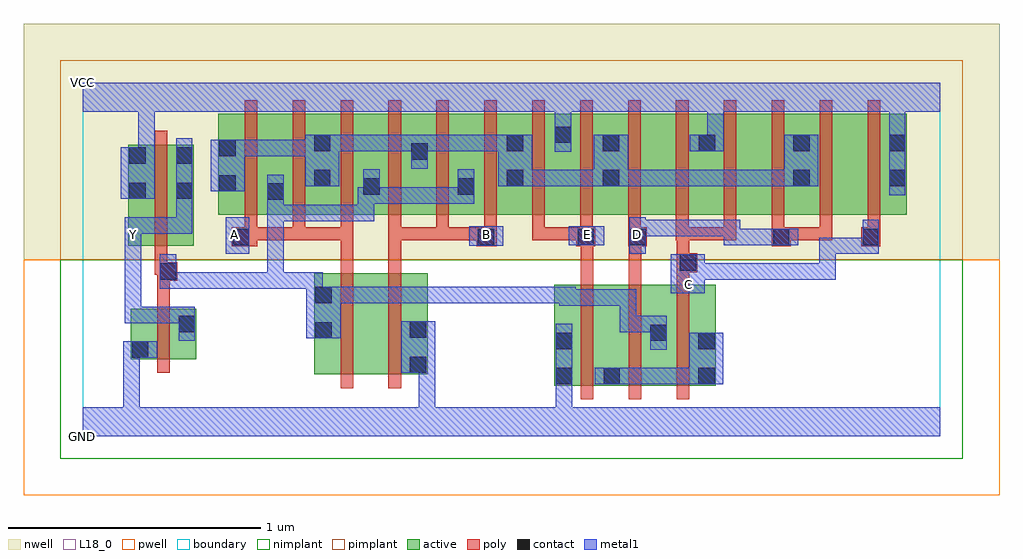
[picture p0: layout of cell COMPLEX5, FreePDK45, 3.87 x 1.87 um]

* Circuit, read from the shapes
.subckt COMPLEX5 A B C D E GND VCC Y
M1 Y n1 GND VSUBS nfet w=0.2u l=0.05u
M2 n2 A n1 VSUBS nfet w=0.4u l=0.05u
M3 GND B n2 VSUBS nfet w=0.4u l=0.05u
M4 n3 E GND VSUBS nfet w=0.4u l=0.05u
M5 n1 D n3 VSUBS nfet w=0.4u l=0.05u
M6 n3 C n1 VSUBS nfet w=0.4u l=0.05u
M7 Y n1 VCC n4 pfet w=0.4u l=0.05u
M8 n1 A n5 n4 pfet w=0.4u l=0.05u m=3
M9 n5 B n1 n4 pfet w=0.4u l=0.05u m=3
M10 VCC E n5 n4 pfet w=0.4u l=0.05u m=2
M11 n6 D n5 n4 pfet w=0.4u l=0.05u
M12 VCC C n6 n4 pfet w=0.4u l=0.05u
M13 n7 C VCC n4 pfet w=0.4u l=0.05u
M14 n5 D n7 n4 pfet w=0.4u l=0.05u
M15 n8 D n5 n4 pfet w=0.4u l=0.05u
M16 VCC C n8 n4 pfet w=0.4u l=0.05u
.ends

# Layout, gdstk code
import gdstk
lib = gdstk.Library(unit=1e-6, precision=1e-09)
def R(c, l, rs):  # rectangles x0, y0, x1, y1
    for r in rs: c.add(gdstk.rectangle(r[:2], r[2:], *l))
def A(c, l, x, y, w, h, nx, ny, dx, dy):  # array of equal rectangles
    R(c, l, [(x+i*dx, y+j*dy, x+i*dx+w, y+j*dy+h) for i in range(nx) for j in range(ny)])
active = (1, 0)
pwell = (2, 0)
nwell = (3, 0)
nimplant = (4, 0)
pimplant = (5, 0)
poly = (9, 0)
contact = (10, 0)
metal1 = (11, 0)
L18_0 = (18, 0)
boundary = (235, 0)

complex5 = lib.new_cell('COMPLEX5')
A(complex5, active, 0.537, 0.877, 0.265, 0.4, 3, 1, 0.57, 0)
A(complex5, active, 1.297, 0.907, 0.075, 0.293, 4, 1, 0.38, 0)
R(complex5, active, [(1.87,0.2,1.945,0.6), (1.87,0.2,2.135,0.6), (2.06,0.2,2.32,0.6), (2.06,0.2,2.135,0.492), (2.245,0.2,2.51,0.6), (2.435,0.2,2.51,0.6), (0.917,0.245,0.992,0.645), (0.917,0.245,1.142,0.645), (1.142,0.245,1.367,0.645), (1.292,0.245,1.367,0.645), (2.245,0.245,2.32,0.492), (0.19,0.305,0.265,0.505), (0.19,0.305,0.45,0.505), (0.375,0.305,0.45,0.505), (0.18,0.755,0.255,1.155), (0.18,0.755,0.44,1.155), (0.365,0.755,0.44,1.155), (0.537,0.877,0.612,1.2), (0.727,0.877,0.987,1.277), (0.727,0.877,0.802,1.07), (0.912,0.877,1.182,1.277), (1.297,0.877,1.557,1.277), (1.482,0.877,1.752,1.277), (1.867,0.877,2.132,1.277), (2.057,0.877,2.282,1.277), (2.282,0.877,2.512,1.277), (2.437,0.877,2.662,1.277), (2.662,0.877,2.887,1.277), (2.812,0.877,3.042,1.277), (3.042,0.877,3.267,1.277), (3.192,0.877,3.267,1.277), (0.912,0.907,0.987,1.2), (1.107,0.907,1.182,1.07), (1.482,0.907,1.557,1.07), (1.867,0.907,1.942,1.277), (2.812,0.907,2.887,1.2)])
R(complex5, pwell, [(-0.235,-0.235,3.635,0.7)])
R(complex5, nwell, [(-0.235,0.7,3.635,1.635)])
R(complex5, nimplant, [(-0.09,-0.09,3.49,0.7)])
R(complex5, pimplant, [(-0.09,0.7,3.49,1.49)])
A(complex5, poly, 1.975, 0.145, 0.05, 0.51, 3, 1, 0.19, 0)
A(complex5, poly, 0.642, 0.777, 0.05, 0.095, 14, 1, 0.19, 0)
A(complex5, poly, 0.642, 0.822, 0.05, 0.51, 14, 1, 0.19, 0)
R(complex5, poly, [(1.022,0.19,1.072,0.7), (1.212,0.19,1.262,0.7), (0.295,0.25,0.345,0.56), (0.295,0.51,0.345,0.665), (1.975,0.605,2.025,0.802), (2.165,0.605,2.215,0.802), (2.355,0.605,2.405,0.7), (0.295,0.615,0.375,0.69), (0.285,0.64,0.335,0.75), (0.285,0.64,0.345,0.69), (0.295,0.64,0.345,0.69), (1.022,0.65,1.072,0.827), (1.212,0.65,1.262,0.827), (2.355,0.65,2.437,0.725), (2.355,0.675,2.405,0.827), (0.285,0.7,0.335,1.21), (0.59,0.752,0.692,0.827), (1.562,0.752,1.642,0.827), (1.957,0.752,2.032,0.827), (1.975,0.752,2.025,0.802), (1.975,0.752,2.025,0.802), (2.162,0.752,2.237,0.827), (2.165,0.752,2.215,0.802), (2.165,0.752,2.215,0.802), (2.732,0.752,2.807,0.827), (3.087,0.752,3.162,0.827), (0.642,0.777,0.882,0.827), (0.832,0.777,0.882,0.827), (0.832,0.777,0.882,0.827), (0.832,0.777,0.882,0.827), (0.832,0.777,1.072,0.827), (1.022,0.777,1.072,0.827), (1.022,0.777,1.072,0.827), (1.022,0.777,1.072,0.827), (1.022,0.777,1.072,0.827), (1.022,0.777,1.072,0.827), (1.212,0.777,1.262,0.827), (1.212,0.777,1.262,0.827), (1.212,0.777,1.262,0.827), (1.212,0.777,1.452,0.827), (1.402,0.777,1.452,0.827), (1.402,0.777,1.452,0.827), (1.402,0.777,1.452,0.827), (1.402,0.777,1.612,0.827), (1.562,0.777,1.612,0.827), (1.562,0.777,1.612,0.827), (1.782,0.777,1.832,0.827), (1.782,0.777,1.832,0.827), (1.782,0.777,1.832,0.827), (1.782,0.777,2.007,0.827), (2.352,0.777,2.405,0.827), (2.355,0.777,2.592,0.827), (2.542,0.777,2.592,0.827), (2.542,0.777,2.592,0.827), (2.542,0.777,2.592,0.827), (2.757,0.777,2.972,0.827), (2.922,0.777,2.972,0.827), (2.922,0.777,2.972,0.827), (2.922,0.777,2.972,0.827), (3.112,0.777,3.162,0.827), (3.112,0.777,3.162,0.827)])
A(complex5, contact, 1.682, 1.13, 0.065, 0.065, 3, 1, 0.38, 0)
R(complex5, contact, [(1.875,0.205,1.94,0.27), (2.065,0.205,2.13,0.27), (2.44,0.205,2.505,0.27), (1.297,0.25,1.362,0.315), (0.195,0.31,0.26,0.375), (1.875,0.345,1.94,0.41), (2.44,0.345,2.505,0.41), (2.25,0.377,2.315,0.442), (0.922,0.387,0.987,0.452), (1.297,0.39,1.362,0.455), (0.38,0.412,0.445,0.477), (0.922,0.527,0.987,0.592), (0.305,0.62,0.37,0.685), (2.367,0.655,2.432,0.72), (0.595,0.757,0.66,0.822), (1.567,0.757,1.632,0.822), (1.962,0.757,2.027,0.822), (2.167,0.757,2.232,0.822), (2.737,0.757,2.802,0.822), (3.092,0.757,3.157,0.822), (0.732,0.937,0.797,1.002), (0.185,0.94,0.25,1.005), (0.37,0.94,0.435,1.005), (1.112,0.957,1.177,1.022), (1.487,0.957,1.552,1.022), (0.542,0.97,0.607,1.035), (0.917,0.99,0.982,1.055), (1.682,0.99,1.747,1.055), (2.062,0.99,2.127,1.055), (2.817,0.99,2.882,1.055), (3.197,0.99,3.262,1.055), (0.185,1.08,0.25,1.145), (0.37,1.08,0.435,1.145), (1.302,1.095,1.367,1.16), (0.542,1.11,0.607,1.175), (0.917,1.13,0.982,1.195), (2.817,1.13,2.882,1.195), (3.197,1.13,3.262,1.195), (1.872,1.162,1.937,1.227)])
R(complex5, metal1, [(0,0,3.4,0.115), (0.16,0.05,0.225,0.115), (0.16,0.05,0.225,0.115), (0.16,0.05,0.225,0.375), (1.332,0.05,1.397,0.315), (1.875,0.05,1.94,0.235), (1.875,0.17,1.94,0.445), (2.03,0.205,2.165,0.27), (2.1,0.205,2.165,0.27), (2.1,0.205,2.165,0.27), (2.1,0.205,2.302,0.27), (2.237,0.205,2.302,0.27), (2.237,0.205,2.47,0.27), (2.405,0.205,2.47,0.27), (2.405,0.205,2.47,0.27), (2.405,0.205,2.54,0.41), (1.262,0.25,1.397,0.455), (0.16,0.31,0.225,0.375), (0.16,0.31,0.225,0.375), (0.16,0.31,0.295,0.375), (2.25,0.342,2.315,0.477), (0.38,0.377,0.445,0.512), (0.887,0.387,1.022,0.592), (2.13,0.412,2.315,0.477), (2.13,0.412,2.195,0.582), (0.167,0.447,0.232,0.512), (0.167,0.447,0.395,0.512), (0.167,0.447,0.232,0.797), (0.33,0.447,0.395,0.512), (0.33,0.447,0.445,0.512), (1.89,0.517,1.955,0.582), (1.89,0.517,1.955,0.582), (1.89,0.517,2.165,0.582), (1.89,0.517,1.955,0.592), (2.1,0.517,2.165,0.582), (2.1,0.517,2.195,0.582), (0.887,0.527,0.952,0.65), (0.957,0.527,1.022,0.592), (0.957,0.527,1.022,0.592), (0.957,0.527,1.177,0.592), (1.112,0.527,1.177,0.592), (1.112,0.527,1.322,0.592), (1.257,0.527,1.322,0.592), (1.257,0.527,1.322,0.592), (1.257,0.527,1.322,0.592), (1.257,0.527,1.46,0.592), (1.395,0.527,1.46,0.592), (1.395,0.527,1.575,0.592), (1.51,0.527,1.575,0.592), (1.51,0.527,1.597,0.592), (1.532,0.527,1.597,0.592), (1.532,0.527,1.735,0.592), (1.67,0.527,1.735,0.592), (1.67,0.527,1.735,0.592), (1.67,0.527,1.735,0.592), (1.67,0.527,1.955,0.592), (2.332,0.567,2.467,0.72), (0.305,0.585,0.37,0.72), (0.305,0.585,0.495,0.65), (0.43,0.585,0.495,0.65), (0.43,0.585,0.66,0.65), (0.595,0.585,0.66,0.65), (0.595,0.585,0.66,0.65), (0.595,0.585,0.66,0.65), (0.595,0.585,0.797,0.65), (0.732,0.585,0.797,0.65), (0.732,0.585,0.797,0.65), (0.732,0.585,0.797,0.65), (0.732,0.585,0.952,0.65), (0.732,0.585,0.797,0.967), (0.887,0.585,0.952,0.65), (2.402,0.62,2.467,0.685), (2.402,0.62,2.467,0.685), (2.402,0.62,2.607,0.685), (2.542,0.62,2.607,0.685), (2.542,0.62,2.607,0.685), (2.542,0.62,2.607,0.685), (2.542,0.62,2.745,0.685), (2.68,0.62,2.745,0.685), (2.68,0.62,2.745,0.685), (2.68,0.62,2.745,0.685), (2.68,0.62,2.985,0.685), (2.92,0.62,2.985,0.685), (2.92,0.62,2.985,0.685), (2.92,0.62,2.985,0.787), (0.567,0.722,0.66,0.867), (2.167,0.722,2.232,0.867), (2.92,0.722,3.157,0.787), (3.092,0.722,3.157,0.857), (0.167,0.732,0.232,0.867), (1.532,0.755,1.667,0.832), (1.927,0.757,2.067,0.832), (2.542,0.757,2.607,0.822), (2.542,0.757,2.607,0.822), (2.542,0.757,2.767,0.822), (2.542,0.757,2.607,0.857), (2.702,0.757,2.837,0.822), (2.167,0.792,2.302,0.857), (2.237,0.792,2.302,0.857), (2.237,0.792,2.44,0.857), (2.375,0.792,2.44,0.857), (2.375,0.792,2.44,0.857), (2.375,0.792,2.44,0.857), (2.375,0.792,2.607,0.857), (0.167,0.802,0.232,0.867), (0.167,0.802,0.232,0.867), (0.167,0.802,0.232,0.867), (0.167,0.802,0.232,0.867), (0.167,0.802,0.435,0.867), (0.37,0.802,0.435,0.867), (0.37,0.802,0.435,0.97), (0.732,0.852,1.04,0.917), (0.732,0.852,0.797,0.967), (0.975,0.852,1.04,0.917), (0.975,0.852,1.155,0.917), (1.09,0.852,1.155,0.987), (0.732,0.902,0.797,1.037), (0.732,0.902,0.797,0.967), (0.732,0.902,0.797,0.967), (0.732,0.902,0.797,0.967), (0.37,0.905,0.435,1.18), (1.09,0.922,1.177,0.987), (1.112,0.922,1.177,1.057), (1.112,0.922,1.292,0.987), (1.227,0.922,1.292,0.987), (1.227,0.922,1.415,0.987), (1.35,0.922,1.415,0.987), (1.35,0.922,1.46,0.987), (1.395,0.922,1.46,0.987), (1.395,0.922,1.552,0.987), (1.487,0.922,1.552,1.057), (0.15,0.94,0.285,1.145), (3.197,0.955,3.262,1.23), (0.507,0.97,0.642,1.175), (0.882,0.99,1.017,1.195), (1.647,0.99,1.782,1.195), (1.717,0.99,1.782,1.055), (1.717,0.99,1.782,1.055), (1.717,0.99,1.782,1.055), (1.717,0.99,1.782,1.055), (1.717,0.99,1.92,1.055), (1.855,0.99,2.092,1.055), (1.855,0.99,1.92,1.055), (1.855,0.99,1.92,1.055), (1.855,0.99,1.92,1.055), (2.027,0.99,2.162,1.195), (2.097,0.99,2.162,1.055), (2.097,0.99,2.162,1.055), (2.097,0.99,2.302,1.055), (2.237,0.99,2.302,1.055), (2.237,0.99,2.44,1.055), (2.375,0.99,2.44,1.055), (2.375,0.99,2.44,1.055), (2.375,0.99,2.44,1.055), (2.375,0.99,2.607,1.055), (2.542,0.99,2.607,1.055), (2.542,0.99,2.607,1.055), (2.542,0.99,2.607,1.055), (2.542,0.99,2.847,1.055), (2.782,0.99,2.847,1.055), (2.782,0.99,2.847,1.055), (2.782,0.99,2.917,1.195), (1.302,1.06,1.367,1.195), (0.22,1.08,0.285,1.35), (0.577,1.11,0.642,1.175), (0.577,1.11,0.642,1.175), (0.577,1.11,0.81,1.175), (0.745,1.11,0.81,1.175), (0.745,1.11,0.81,1.175), (0.745,1.11,0.81,1.175), (0.745,1.11,0.947,1.175), (1.872,1.127,1.937,1.262), (0.952,1.13,1.017,1.195), (0.952,1.13,1.017,1.195), (0.952,1.13,1.177,1.195), (1.112,1.13,1.177,1.195), (1.112,1.13,1.322,1.195), (1.257,1.13,1.322,1.195), (1.257,1.13,1.367,1.195), (1.302,1.13,1.46,1.195), (1.395,1.13,1.46,1.195), (1.395,1.13,1.575,1.195), (1.51,1.13,1.575,1.195), (1.51,1.13,1.597,1.195), (1.532,1.13,1.597,1.195), (1.532,1.13,1.712,1.195), (2.407,1.13,2.542,1.195), (2.477,1.13,2.542,1.35), (3.197,1.165,3.262,1.35), (1.872,1.197,1.937,1.35), (0,1.285,3.4,1.4)])
R(complex5, L18_0, [(0,0,3.4,0.115), (0.16,0.05,0.225,0.115), (0.16,0.05,0.225,0.115), (0.16,0.05,0.225,0.375), (1.332,0.05,1.397,0.315), (1.875,0.05,1.94,0.235), (1.875,0.17,1.94,0.445), (1.262,0.25,1.397,0.455), (0.16,0.31,0.225,0.375), (0.16,0.31,0.225,0.375), (0.16,0.31,0.295,0.375), (0.38,0.377,0.445,0.512), (0.167,0.447,0.232,0.512), (0.167,0.447,0.232,0.797), (0.167,0.447,0.395,0.512), (0.33,0.447,0.395,0.512), (0.33,0.447,0.445,0.512), (2.332,0.567,2.467,0.72), (2.367,0.567,2.432,0.632), (2.402,0.62,2.467,0.685), (2.402,0.62,2.467,0.685), (2.402,0.62,2.607,0.685), (2.542,0.62,2.607,0.685), (2.542,0.62,2.607,0.685), (2.542,0.62,2.607,0.685), (2.542,0.62,2.745,0.685), (2.68,0.62,2.745,0.685), (2.68,0.62,2.745,0.685), (2.68,0.62,2.745,0.685), (2.68,0.62,2.985,0.685), (2.92,0.62,2.985,0.685), (2.92,0.62,2.985,0.685), (2.92,0.62,2.985,0.787), (0.567,0.722,0.66,0.867), (2.167,0.722,2.232,0.867), (2.92,0.722,3.157,0.787), (3.092,0.722,3.157,0.857), (0.167,0.732,0.232,0.867), (1.532,0.755,1.667,0.832), (1.927,0.757,2.067,0.832), (2.542,0.757,2.607,0.822), (2.542,0.757,2.607,0.822), (2.542,0.757,2.607,0.857), (2.542,0.757,2.767,0.822), (2.702,0.757,2.837,0.822), (0.167,0.767,0.232,0.832), (0.567,0.767,0.632,0.832), (1.567,0.767,1.632,0.832), (1.967,0.767,2.032,0.832), (2.167,0.767,2.232,0.832), (2.167,0.792,2.302,0.857), (2.237,0.792,2.302,0.857), (2.237,0.792,2.44,0.857), (2.375,0.792,2.44,0.857), (2.375,0.792,2.44,0.857), (2.375,0.792,2.44,0.857), (2.375,0.792,2.607,0.857), (0.167,0.802,0.232,0.867), (0.167,0.802,0.232,0.867), (0.167,0.802,0.232,0.867), (0.167,0.802,0.232,0.867), (0.167,0.802,0.435,0.867), (0.37,0.802,0.435,0.867), (0.37,0.802,0.435,0.97), (0.37,0.905,0.435,1.18), (0.15,0.94,0.285,1.145), (3.197,0.955,3.262,1.23), (0.22,1.08,0.285,1.35), (1.872,1.127,1.937,1.262), (2.407,1.13,2.542,1.195), (2.477,1.13,2.542,1.35), (3.197,1.165,3.262,1.35), (1.872,1.197,1.937,1.35), (0,1.285,3.4,1.4)])
R(complex5, boundary, [(0,0,3.4,1.4)])
complex5.add(gdstk.Label('A', (0.6,0.8), layer=11, texttype=0))
complex5.add(gdstk.Label('B', (1.6,0.8), layer=11, texttype=0))
complex5.add(gdstk.Label('C', (2.4,0.6), layer=11, texttype=0))
complex5.add(gdstk.Label('D', (2.2,0.8), layer=11, texttype=0))
complex5.add(gdstk.Label('E', (2,0.8), layer=11, texttype=0))
complex5.add(gdstk.Label('Y', (0.2,0.8), layer=11, texttype=0))
complex5.add(gdstk.Label('VCC', (0,1.4), layer=11, texttype=0))
complex5.add(gdstk.Label('GND', (0,0), layer=11, texttype=0))

lib.write_gds('COMPLEX5.gds')
